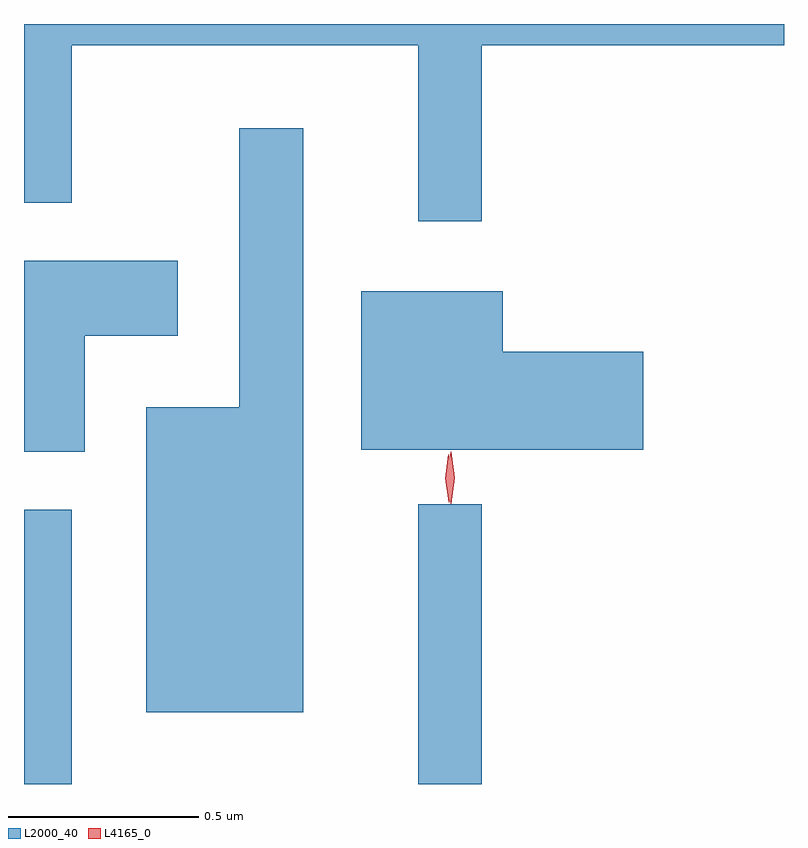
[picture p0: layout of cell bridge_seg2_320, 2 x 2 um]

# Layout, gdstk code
import gdstk
lib = gdstk.Library(unit=1e-6, precision=1e-09)
def R(c, l, rs):  # rectangles x0, y0, x1, y1
    for r in rs: c.add(gdstk.rectangle(r[:2], r[2:], *l))
def P(c, l, *ps):  # polygons
    for p in ps: c.add(gdstk.Polygon(p, *l))
L2000_40 = (2000, 40)
L4165_0 = (4165, 0)

bridge_seg2_320 = lib.new_cell('bridge_seg2_320')
R(bridge_seg2_320, L2000_40, [(441.414,1066.352,441.539,1067.074), (442.451,1066.352,442.619,1067.088)])
P(bridge_seg2_320, L2000_40, [(442.619,1068.296),(443.414,1068.296),(443.414,1068.352),(441.414,1068.352),(441.414,1067.881),(441.539,1067.881),(441.539,1068.296),(442.451,1068.296),(442.451,1067.833),(442.619,1067.833)],
  [(442.149,1068.078),(441.981,1068.078),(441.981,1067.344),(441.736,1067.344),(441.736,1066.541),(442.149,1066.541)],
  [(441.574,1067.531),(441.819,1067.531),(441.819,1067.729),(441.414,1067.729),(441.414,1067.226),(441.574,1067.226)],
  [(443.044,1067.489),(442.674,1067.489),(442.674,1067.649),(442.301,1067.649),(442.301,1067.231),(443.044,1067.231)])
P(bridge_seg2_320, L4165_0, [(442.537,1067.09),(442.528,1067.158),(442.537,1067.226),(442.538,1067.226),(442.538,1067.226),(442.547,1067.158),(442.538,1067.09),(442.538,1067.09)],
  [(442.532,1067.093),(442.532,1067.093),(442.522,1067.156),(442.531,1067.219),(442.532,1067.22),(442.532,1067.219),(442.542,1067.156),(442.533,1067.093)])

lib.write_gds('bridge_seg2_320.gds')
